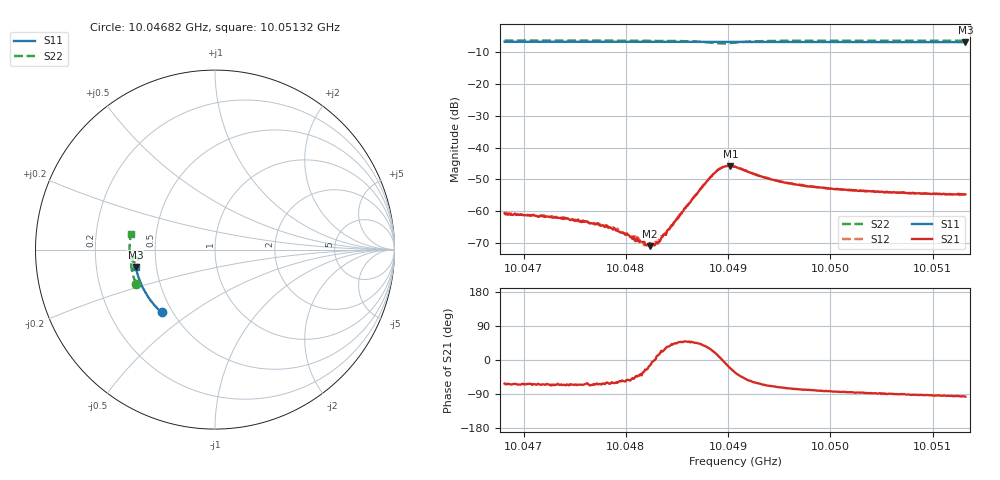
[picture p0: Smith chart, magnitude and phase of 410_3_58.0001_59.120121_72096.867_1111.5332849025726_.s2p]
#  HZ  S  RI  R  50.00
! Rohde & Schwarz Vector Network Analyzer
! Rohde-Schwarz,ZNB20-2Port,1311601062101988,3.16
! Created: UTC 3/21/2024, 1:08:43 AM
! freq[Hz]  re:S11  im:S11  re:S21  im:S21  re:S12  im:S12  re:S22  im:S22
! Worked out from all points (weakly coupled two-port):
!   401 points, 10.04682 GHz to 10.05132 GHz, reference 50 ohm
!   highest |S21| = -45.76 dB at 10.04902 GHz (marker M1); lowest = -70.9 dB at 10.04823 GHz (marker M2)
!   lowest |S11| = -6.9 dB at 10.05132 GHz (marker M3), VSWR 2.65, Z = 19.1 - j4.66 ohm
!   |S11| at or under -10 dB: nowhere
!   |S22| runs from -7.3 to -6.4 dB; largest |S21 - S12| = 0.00035
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1.0046815e10  -0.2981 -0.3503  0.000434 -0.000828  0.000449 -0.000816  -0.4405 -0.191
1.0047401e10  -0.3257 -0.323  0.000323 -0.000711  0.000367 -0.000712  -0.4538 -0.1534
1.0047569e10  -0.3329 -0.315  0.000283 -0.000613  0.000336 -0.000617  -0.457 -0.1422
1.0047828e10  -0.3442 -0.3018  0.000277 -0.000499  0.00026 -0.00048  -0.4612 -0.1243
1.0047896e10  -0.3469 -0.2984  0.000251 -0.000448  0.000296 -0.000443  -0.4623 -0.1196
1.0048031e10  -0.3525 -0.2914  0.000254 -0.000334  0.000284 -0.000342  -0.4641 -0.1098
1.004811e10  -0.3557 -0.2873  0.000273 -0.000259  0.000307 -0.000252  -0.465 -0.104
1.0048166e10  -0.358 -0.2844  0.000281 -0.000179  0.000304 -0.000163  -0.4656 -0.0996
1.0048211e10  -0.3597 -0.282  0.00027 -0.000118  0.000308 -9.59e-05  -0.466 -0.0961
1.0048234e10  -0.3607 -0.2808  0.000275 -7.15e-05  0.000316 -4.72e-05  -0.466 -0.0945
1.0048301e10  -0.3632 -0.2772  0.00032 5.76e-05  0.000335 7.98e-05  -0.4662 -0.0889
1.0048324e10  -0.364 -0.276  0.000317 7.99e-05  0.000323 9.12e-05  -0.4664 -0.087
1.0048402e10  -0.367 -0.2719  0.000409 0.000281  0.00037 0.000305  -0.4664 -0.0805
1.004865e10  -0.3761 -0.2583  0.00106 0.00114  0.00101 0.00121  -0.461 -0.0569
1.0048842e10  -0.3826 -0.2474  0.00325 0.00155  0.00317 0.00174  -0.4402 -0.0437
1.0048932e10  -0.3855 -0.2424  0.00478 0.000281  0.00479 0.000536  -0.4281 -0.0524
1.0049022e10  -0.3883 -0.2374  0.00477 -0.00194  0.00491 -0.00165  -0.4318 -0.0679
1.0049067e10  -0.3898 -0.235  0.00421 -0.0027  0.0044 -0.00244  -0.4388 -0.0713
1.0049427e10  -0.4014 -0.2144  0.00112 -0.00293  0.00131 -0.0029  -0.4699 -0.0461
1.0049821e10  -0.4123 -0.1908  0.000425 -0.00241  0.000561 -0.00239  -0.4757 -0.014
1.0050575e10  -0.4295 -0.1445  2.93e-05 -0.00198  0.00016 -0.00199  -0.4749 0.0396
1.0051318e10  -0.4414 -0.0973  -0.000213 -0.00183  -0.000103 -0.00183  -0.4679 0.089
